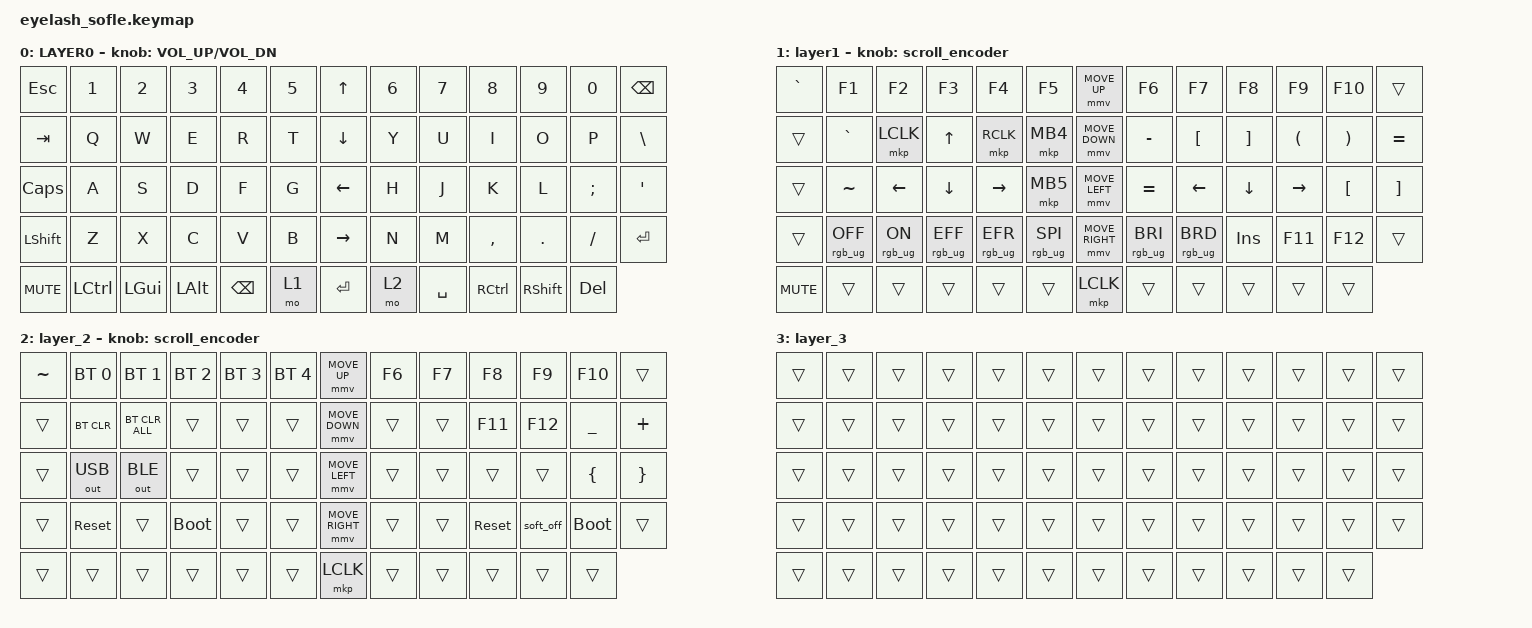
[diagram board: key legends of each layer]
#define ZMK_POINTING_DEFAULT_MOVE_VAL 1200  // 600
#define ZMK_POINTING_DEFAULT_SCRL_VAL 25   // 10

#include <input/processors.dtsi>
#include <zephyr/dt-bindings/input/input-event-codes.h>
#include <behaviors.dtsi>
#include <dt-bindings/zmk/bt.h>
#include <dt-bindings/zmk/keys.h>
#include <dt-bindings/zmk/outputs.h>
#include <dt-bindings/zmk/pointing.h>
#include <dt-bindings/zmk/rgb.h>

&mmv_input_listener { input-processors = <&zip_xy_scaler 2 1>; };

&msc_input_listener { input-processors = <&zip_scroll_scaler 2 1>; };

&msc {
    acceleration-exponent = <1>;      // 0
    time-to-max-speed-ms = <100>;       // 300
    delay-ms = <0>;                   // 0
};

&mmv {
    time-to-max-speed-ms = <500>;
    acceleration-exponent = <1>;
    trigger-period-ms = <16>;
};

/ {
    scroll_encoder: scroll_encoder {
        compatible = "zmk,behavior-sensor-rotate";
        #sensor-binding-cells = <0>;
        bindings = <&msc SCRL_DOWN>, <&msc SCRL_UP>;

        tap-ms = <100>;
    };

    combos {
        compatible = "zmk,combos";

        w {
            bindings = <&kp P>;
            key-positions = <23 22>;
        };
    };

    behaviors {
    };

    keymap {
        compatible = "zmk,keymap";

        layer0 {
            bindings = <
&kp ESC     &kp N1     &kp N2        &kp N3        &kp N4         &kp N5    &kp UP_ARROW     &kp N6  &kp N7     &kp N8     &kp N9           &kp N0      &kp BACKSPACE
&kp TAB     &kp Q      &kp W         &kp E         &kp R          &kp T     &kp DOWN_ARROW   &kp Y   &kp U      &kp I      &kp O            &kp P       &kp BSLH
&kp CAPS    &kp A      &kp S         &kp D         &kp F          &kp G     &kp LEFT_ARROW   &kp H   &kp J      &kp K      &kp L            &kp SEMI    &kp APOS
&kp LSHFT   &kp Z      &kp X         &kp C         &kp V          &kp B     &kp RIGHT_ARROW  &kp N   &kp M      &kp COMMA  &kp DOT          &kp FSLH    &kp ENTER
&kp C_MUTE  &kp LCTRL  &kp LEFT_GUI  &kp LEFT_ALT  &kp BACKSPACE  &mo 1     &kp ENTER        &mo 2   &kp SPACE  &kp RCTRL  &kp RIGHT_SHIFT  &kp DELETE
            >;

            sensor-bindings = <&inc_dec_kp C_VOLUME_UP C_VOL_DN>;
            display-name = "LAYER0";
        };

        layer_1 {
            bindings = <
&kp GRAVE   &kp F1           &kp F2          &kp F3           &kp F4           &kp F5             &mmv MOVE_UP     &kp F6           &kp F7            &kp F8             &kp F9                &kp F10                &trans
&trans      &kp GRAVE        &mkp LCLK       &kp UP_ARROW     &mkp RCLK        &mkp MB4           &mmv MOVE_DOWN   &kp MINUS        &kp LEFT_BRACKET  &kp RIGHT_BRACKET  &kp LEFT_PARENTHESIS  &kp RIGHT_PARENTHESIS  &kp EQUAL
&trans      &kp TILDE        &kp LEFT_ARROW  &kp DOWN         &kp RIGHT        &mkp MB5           &mmv MOVE_LEFT   &kp EQUAL        &kp LEFT          &kp DOWN           &kp RIGHT             &kp LEFT_BRACKET       &kp RIGHT_BRACKET
&trans      &rgb_ug RGB_OFF  &rgb_ug RGB_ON  &rgb_ug RGB_EFF  &rgb_ug RGB_EFR  &rgb_ug RGB_SPI    &mmv MOVE_RIGHT  &rgb_ug RGB_BRI  &rgb_ug RGB_BRD   &kp INSERT         &kp F11               &kp F12                &trans
&kp C_MUTE  &trans           &trans          &trans           &trans           &trans             &mkp LCLK        &trans           &trans            &trans             &trans                &trans
            >;

            display-name = "layer1";
            sensor-bindings = <&scroll_encoder>;
        };

        layer_2 {
            bindings = <
&kp TILDE  &bt BT_SEL 0  &bt BT_SEL 1    &bt BT_SEL 2  &bt BT_SEL 3  &bt BT_SEL 4    &mmv MOVE_UP     &kp F6  &kp F7  &kp F8      &kp F9     &kp F10      &trans
&trans     &bt BT_CLR    &bt BT_CLR_ALL  &trans        &trans        &trans          &mmv MOVE_DOWN   &trans  &trans  &kp F11     &kp F12    &kp UNDER    &kp PLUS
&trans     &out OUT_USB  &out OUT_BLE    &trans        &trans        &trans          &mmv MOVE_LEFT   &trans  &trans  &trans      &trans     &kp LBRC     &kp RBRC
&trans     &sys_reset    &trans          &bootloader   &trans        &trans          &mmv MOVE_RIGHT  &trans  &trans  &sys_reset  &soft_off  &bootloader  &trans
&trans     &trans        &trans          &trans        &trans        &trans          &mkp LCLK        &trans  &trans  &trans      &trans     &trans
            >;

            sensor-bindings = <&scroll_encoder>;
        };

        layer_3 {
            bindings = <
&trans  &trans  &trans  &trans  &trans  &trans    &trans  &trans  &trans  &trans  &trans  &trans  &trans
&trans  &trans  &trans  &trans  &trans  &trans    &trans  &trans  &trans  &trans  &trans  &trans  &trans
&trans  &trans  &trans  &trans  &trans  &trans    &trans  &trans  &trans  &trans  &trans  &trans  &trans
&trans  &trans  &trans  &trans  &trans  &trans    &trans  &trans  &trans  &trans  &trans  &trans  &trans
&trans  &trans  &trans  &trans  &trans  &trans    &trans  &trans  &trans  &trans  &trans  &trans
            >;
        };
    };
};
